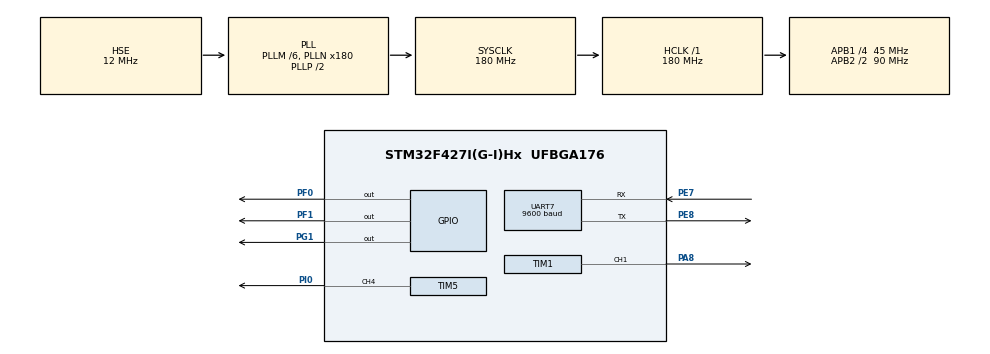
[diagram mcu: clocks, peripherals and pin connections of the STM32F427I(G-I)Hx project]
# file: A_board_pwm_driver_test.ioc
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Mcu.Family=STM32F4
Mcu.Name=STM32F427I(G-I)Hx
Mcu.Package=UFBGA176
NVIC.PriorityGroup=NVIC_PRIORITYGROUP_4
NVIC.UART7_IRQn=true\:0\:0\:false\:false\:true\:true\:true\:true
PA13.Mode=Serial_Wire
PA13.Signal=SYS_JTMS-SWDIO
PA14.Mode=Serial_Wire
PA14.Signal=SYS_JTCK-SWCLK
PA8.Signal=S_TIM1_CH1
PC14/OSC32_IN.Mode=LSE-External-Oscillator
PC14/OSC32_IN.Signal=RCC_OSC32_IN
PC15/OSC32_OUT.Mode=LSE-External-Oscillator
PC15/OSC32_OUT.Signal=RCC_OSC32_OUT
PE7.Mode=Asynchronous
PE7.Signal=UART7_RX
PE8.Mode=Asynchronous
PE8.Signal=UART7_TX
PF0.PinState=GPIO_PIN_RESET
PF0.Signal=GPIO_Output
PF1.PinState=GPIO_PIN_SET
PF1.Signal=GPIO_Output
PG1.PinState=GPIO_PIN_SET
PG1.Signal=GPIO_Output
PH0/OSC_IN.Mode=HSE-External-Oscillator
PH0/OSC_IN.Signal=RCC_OSC_IN
PH1/OSC_OUT.Mode=HSE-External-Oscillator
PH1/OSC_OUT.Signal=RCC_OSC_OUT
PI0.Signal=S_TIM5_CH4
ProjectManager.HeapSize=0x200
ProjectManager.StackSize=0x400
ProjectManager.TargetToolchain=CMake
RCC.48MHZClocksFreq_Value=90000000
RCC.AHBFreq_Value=180000000
RCC.APB1CLKDivider=RCC_HCLK_DIV4
RCC.APB1Freq_Value=45000000
RCC.APB1TimFreq_Value=90000000
RCC.APB2CLKDivider=RCC_HCLK_DIV2
RCC.APB2Freq_Value=90000000
RCC.APB2TimFreq_Value=180000000
RCC.CortexFreq_Value=180000000
RCC.HCLKFreq_Value=180000000
RCC.HSE_VALUE=12000000
RCC.HSI_VALUE=16000000
RCC.PLLM=6
RCC.PLLN=180
RCC.PLLSourceVirtual=RCC_PLLSOURCE_HSE
RCC.SYSCLKFreq_VALUE=180000000
RCC.SYSCLKSource=RCC_SYSCLKSOURCE_PLLCLK
RCC.VCOOutputFreq_Value=360000000
SH.S_TIM1_CH1.0=TIM1_CH1,PWM Generation1 CH1
SH.S_TIM5_CH4.0=TIM5_CH4,PWM Generation4 CH4
TIM1.Channel-PWM\ Generation1\ CH1=TIM_CHANNEL_1
TIM5.AutoReloadPreload=TIM_AUTORELOAD_PRELOAD_ENABLE
TIM5.Channel-PWM\ Generation4\ CH4=TIM_CHANNEL_4
TIM5.Period=20000
TIM5.Prescaler=89
TIM5.Pulse-PWM\ Generation4\ CH4=1500
UART7.BaudRate=9600
UART7.VirtualMode=Asynchronous
VP_TIM5_VS_ClockSourceINT.Mode=Internal
board=custom

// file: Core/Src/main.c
/* USER CODE BEGIN Header */
/**
  ******************************************************************************
  * @file           : main.c
  * @brief          : Main program body
  ******************************************************************************
  * @attention
  *
  * Copyright (c) 2026 STMicroelectronics.
  * All rights reserved.
  *
  * This software is licensed under terms that can be found in the LICENSE file
  * in the root directory of this software component.
  * If no LICENSE file comes with this software, it is provided AS-IS.
  *
  ******************************************************************************
  */
/* USER CODE END Header */
#include "main.h"
#include "tim.h"
#include "usart.h"
#include "gpio.h"

/* USER CODE BEGIN Includes */
#include "driver/motor_bridge.h"
#include "driver/pwm.h"               // 需要 PWM_Handle 的完整定义
#include "driver/usergpio.h"
#include "driver/usergpio_platform.h"
#include "driver/uart.h"
#include "driver/uart_platform_ops.h"
#include "driver/uart_cmd_parser.h"
#include "common/ringbuf.h"
/* USER CODE END Includes */

/* USER CODE BEGIN PV */

/* ---------- UART 调试串口 ---------- */
static UART_Handle    uart_debug = {
    .huart      = &huart7,
    .ops        = &uart_platform_ops_stm32,
};

static RingBuffer g_ringbuf_debug;

/* USER CODE END PV */

void SystemClock_Config(void);

int main(void)
{

  /* MCU Configuration--------------------------------------------------------*/

  /* Reset of all peripherals, Initializes the Flash interface and the Systick. */
  HAL_Init();

  /* Configure the system clock */
  SystemClock_Config();

  /* Initialize all configured peripherals */
  MX_GPIO_Init();
  MX_TIM5_Init();
  MX_TIM1_Init();
  MX_UART7_Init();
  /* USER CODE BEGIN 2 */

  /* ---------- 启动 UART（回显测试） ---------- */
  ringbuf_init(&g_ringbuf_debug);
  uart_cmd_parser_init(&uart_debug, &g_ringbuf_debug);
  uart_receive_IT(&uart_debug, &uart_debug.rx_byte);

  /* 启动时发一条消息，串口助手看到说明 TX 通路正常 */
  uart_send(&uart_debug, (uint8_t *)"UART7 Ready!\r\n", 14);

  /* TODO: 调试指示灯
     心跳灯 — GPIO 控制, 500ms 翻转 (Systick 里或主循环定时), 证明主循环活着
     通信灯 — 收/发时翻转 GPIO, 证明串口通路正常
     两个 GPIO + 两个限流电阻即可, 调试时最保值的投入 */

#if 0   /* 电机部分暂时禁用，先验证串口 */
  // 电机测试：50% 占空比正转
  pwm_set_freq(&pwm_tim5_ch4, 20000);              // 电机 PWM 频率 20kHz
  pwm_start(&pwm_tim5_ch4);                        // 启动 PWM 输出

  motor_bridge_init(0, &pwm_tim5_ch4,
                    &motor_in1, &motor_in2, &motor_stby,
                    200.0f, 33.1f);

  motor_bridge_set_speed_rpm(0, 100);              // 50% 速度（200×50%=100 RPM）
#endif

  /* USER CODE END 2 */

  /* Infinite loop */
  while (1)
  {

    /* USER CODE BEGIN 3 */

    /* ---- 串口命令解析：从 ringbuf 取字节 → 拼帧 → 分发 → 回状态码 ---- */
    uart_cmd_parser_tick();

  }
  /* USER CODE END 3 */
}

void SystemClock_Config(void)
{
  RCC_OscInitTypeDef RCC_OscInitStruct = {0};
  RCC_ClkInitTypeDef RCC_ClkInitStruct = {0};

  /** Configure the main internal regulator output voltage
  */
  __HAL_RCC_PWR_CLK_ENABLE();
  __HAL_PWR_VOLTAGESCALING_CONFIG(PWR_REGULATOR_VOLTAGE_SCALE1);

  /** Initializes the RCC Oscillators according to the specified parameters
  * in the RCC_OscInitTypeDef structure.
  */
  RCC_OscInitStruct.OscillatorType = RCC_OSCILLATORTYPE_HSE;
  RCC_OscInitStruct.HSEState = RCC_HSE_ON;
  RCC_OscInitStruct.PLL.PLLState = RCC_PLL_ON;
  RCC_OscInitStruct.PLL.PLLSource = RCC_PLLSOURCE_HSE;
  RCC_OscInitStruct.PLL.PLLM = 6;
  RCC_OscInitStruct.PLL.PLLN = 180;
  RCC_OscInitStruct.PLL.PLLP = RCC_PLLP_DIV2;
  RCC_OscInitStruct.PLL.PLLQ = 4;
  if (HAL_RCC_OscConfig(&RCC_OscInitStruct) != HAL_OK)
  {
    Error_Handler();
  }

  /** Activate the Over-Drive mode
  */
  if (HAL_PWREx_EnableOverDrive() != HAL_OK)
  {
    Error_Handler();
  }

  /** Initializes the CPU, AHB and APB buses clocks
  */
  RCC_ClkInitStruct.ClockType = RCC_CLOCKTYPE_HCLK|RCC_CLOCKTYPE_SYSCLK
                              |RCC_CLOCKTYPE_PCLK1|RCC_CLOCKTYPE_PCLK2;
  RCC_ClkInitStruct.SYSCLKSource = RCC_SYSCLKSOURCE_PLLCLK;
  RCC_ClkInitStruct.AHBCLKDivider = RCC_SYSCLK_DIV1;
  RCC_ClkInitStruct.APB1CLKDivider = RCC_HCLK_DIV4;
  RCC_ClkInitStruct.APB2CLKDivider = RCC_HCLK_DIV2;

  if (HAL_RCC_ClockConfig(&RCC_ClkInitStruct, FLASH_LATENCY_5) != HAL_OK)
  {
    Error_Handler();
  }
}

void Error_Handler(void)
{
  __disable_irq();
  while (1)
  {
  }
}
